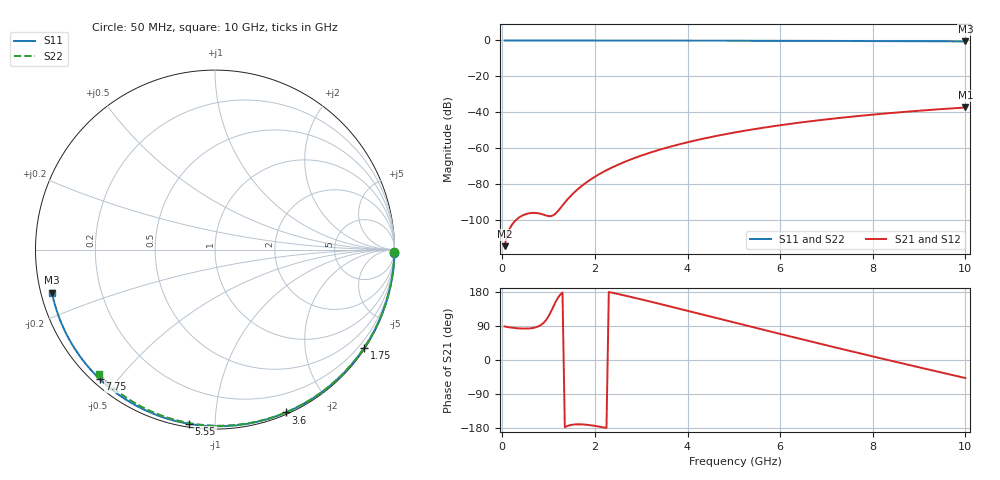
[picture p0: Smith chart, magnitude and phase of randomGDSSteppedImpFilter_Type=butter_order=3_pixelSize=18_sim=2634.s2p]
! freq	dB(S11)	phase(S11)	dB(S12)	phase(S12)
!  dB(S21)	phase(S21)	dB(S22)	phase(S22)
!S-par simulation data
#  GHz  S  DB  R 50
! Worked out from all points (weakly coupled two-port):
!   200 points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, 50 MHz to 10 GHz, reference 50 ohm
!   highest |S21| = -37.38 dB at 10 GHz (marker M1); lowest = -114.7 dB at 50 MHz (marker M2)
!   lowest |S11| = -0.5 dB at 10 GHz (marker M3), VSWR 32.17, Z = 1.58 - j6.51 ohm
!   |S11| at or under -10 dB: nowhere
!   |S22| runs from -0.4 to 0.0 dB; largest |S21 - S12| = 0
!   S11 on the Smith chart (normalised r, x): 50 MHz: open; 1.75 GHz: 0.03, -3.35; 3.6 GHz: 0.02, -1.53; 5.55 GHz: 0.02, -0.86; 7.75 GHz: 0.02, -0.45; 10 GHz: 0.03, -0.13
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0.05  -0.00 -1.0  -114.69 88.6  -114.69 88.6  -0.00 -0.8
0.45  -0.01 -8.7  -97.42 83.0  -97.42 83.0  -0.01 -6.9
0.85  -0.02 -16.4  -96.78 93.7  -96.78 93.7  -0.02 -13.0
1.3  -0.03 -24.9  -91.96 178.2  -91.96 178.2  -0.02 -19.8
1.75  -0.04 -33.3  -80.40 -170.1  -80.40 -170.1  -0.03 -26.5
1.8  -0.04 -34.2  -79.44 -170.6  -79.44 -170.6  -0.03 -27.2
1.95  -0.05 -37.0  -76.79 -172.9  -76.79 -172.9  -0.04 -29.4
2.15  -0.05 -40.6  -73.73 -177.0  -73.73 -177.0  -0.04 -32.4
2.5  -0.06 -47.0  -69.27 174.2  -69.27 174.2  -0.05 -37.5
2.9  -0.07 -54.2  -65.12 162.9  -65.12 162.9  -0.06 -43.3
3.4  -0.08 -63.0  -60.89 148.1  -60.89 148.1  -0.07 -50.4
3.6  -0.09 -66.4  -59.41 142.1  -59.41 142.1  -0.07 -53.2
4.3  -0.11 -78.2  -54.97 120.7  -54.97 120.7  -0.09 -62.9
5.05  -0.14 -90.5  -51.15 97.7  -51.15 97.7  -0.11 -73.0
5.55  -0.16 -98.4  -48.99 82.4  -48.99 82.4  -0.13 -79.5
6.1  -0.19 -107.0  -46.91 65.8  -46.91 65.8  -0.15 -86.6
6.7  -0.23 -116.1  -44.91 47.7  -44.91 47.7  -0.18 -94.1
7.2  -0.26 -123.6  -43.43 32.9  -43.43 32.9  -0.21 -100.2
7.75  -0.30 -131.7  -41.96 16.7  -41.96 16.7  -0.25 -106.8
8.35  -0.36 -140.6  -40.54 -0.7  -40.54 -0.7  -0.29 -113.9
9.2  -0.44 -153.1  -38.78 -25.0  -38.78 -25.0  -0.37 -123.9
10  -0.54 -165.2  -37.38 -47.6  -37.38 -47.6  -0.45 -133.1
